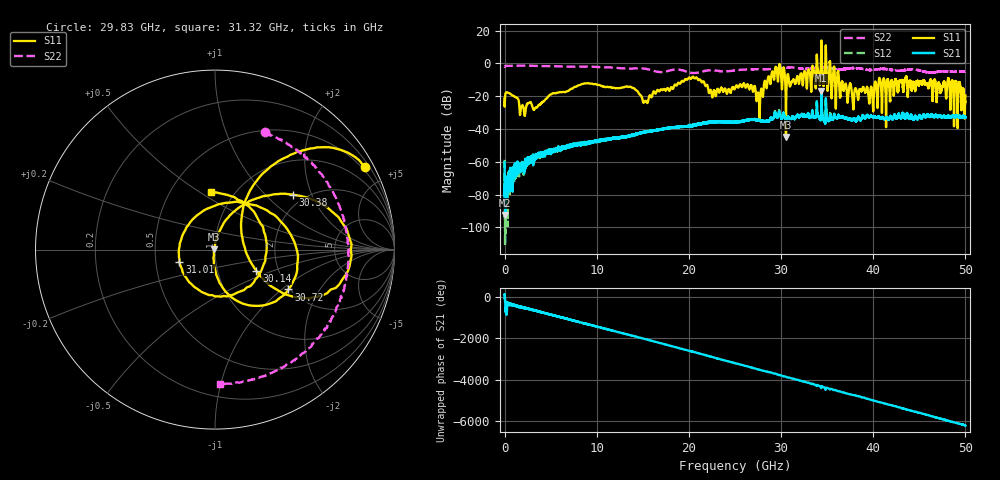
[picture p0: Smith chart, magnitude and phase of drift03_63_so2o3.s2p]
!Created with skrf (http://scikit-rf.org).
# Hz S RI R 50.0
!freq ReS11 ImS11 ReS21 ImS21 ReS12 ImS12 ReS22 ImS22
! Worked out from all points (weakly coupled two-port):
!   10001 points, 300 kHz to 50 GHz, reference 50 ohm
!   highest |S21| = -16.57 dB at 34.37 GHz (marker M1); lowest = -92.4 dB at 80.3 MHz (marker M2)
!   lowest |S11| = -44.8 dB at 30.53 GHz (marker M3), VSWR 1.01, Z = 49.5 + j0.235 ohm
!   |S11| at or under -10 dB: start of sweep to 19.56 GHz; 21.25 GHz to 28.55 GHz (7.298 GHz wide, 29.3 % of centre); 36.28 GHz to 40.62 GHz (4.331 GHz wide, 11.3 % of centre) (the widest 3 of 40)
!   |S22| runs from -5.9 to -1.3 dB; largest |S21 - S12| = 0.027
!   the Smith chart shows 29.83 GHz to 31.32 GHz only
!   S11 on the Smith chart (normalised r, x): 29.83 GHz: 0.37, +3.86; 30.14 GHz: 1.54, -0.39; 30.38 GHz: 1.73, +1.48; 30.72 GHz: 1.97, -1.11; 31.01 GHz: 0.66, -0.10; 31.32 GHz: 0.78, +0.56
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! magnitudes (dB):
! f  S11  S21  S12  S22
! 300 kHz  -21.3  -60.4  -58.8  -2.0
! 80.3 MHz  -18.9  -92.4  -104.1  -1.5
! 3.3 GHz  -27.3  -57.4  -57.5  -1.5
! 8.335 GHz  -12.6  -48.3  -49.0  -1.9
! 15.28 GHz  -22.8  -41.9  -41.9  -3.3
! 16.67 GHz  -16.5  -40.6  -40.4  -5.2
! 20.27 GHz  -9.1  -37.7  -37.9  -5.8
! 22.71 GHz  -16.5  -35.6  -35.5  -4.2
! 25 GHz  -15.3  -35.9  -36.0  -4.3
! 27.53 GHz  -17.8  -34.5  -34.5  -3.5
! 29.83 GHz  -0.4  -29.3  -28.4  -3.0
! 30.14 GHz  -11.7  -33.3  -33.6  -2.8
! 30.38 GHz  -5.5  -32.0  -32.5  -2.6
! 30.53 GHz  -44.8  -34.2  -34.2  -2.5
! 30.72 GHz  -6.6  -32.8  -32.6  -2.5
! 31.01 GHz  -13.6  -34.1  -34.3  -2.4
! 31.32 GHz  -9.9  -32.4  -32.2  -2.5
! 33.34 GHz  -7.4  -31.3  -31.1  -2.9
! 34.37 GHz  14.0  -16.6  -17.7  -2.3
! 37.87 GHz  -27.8  -33.7  -34.1  -2.8
! 41.67 GHz  -11.4  -34.2  -33.9  -3.7
! 50 GHz  -19.6  -33.1  -32.5  -5.0
